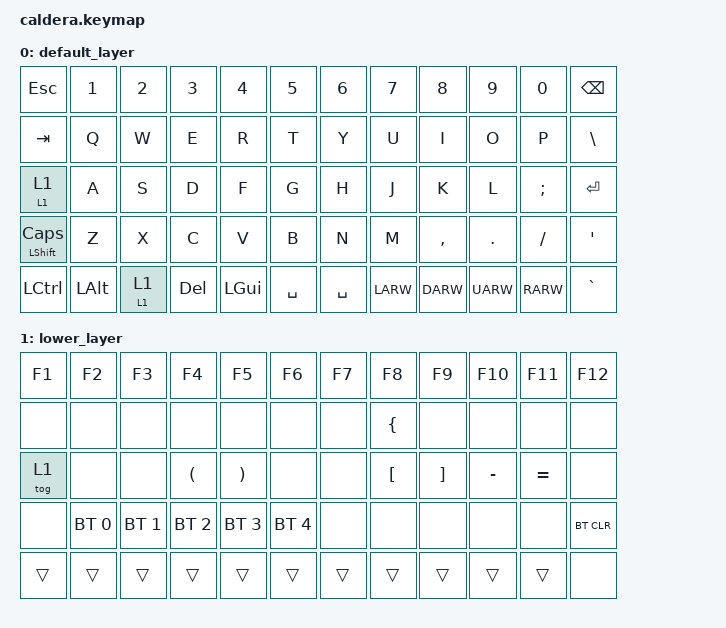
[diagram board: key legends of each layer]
// Here is where we define the DEFAULT keymap for the keyboard. Users can override this if they want to.

#include <behaviors.dtsi>
#include <dt-bindings/zmk/keys.h>
#include <dt-bindings/zmk/bt.h>

/ {
    behaviors {
		// When tapped it toggles the layer, when held for longer than 200ms it deactivates on release
        mo_tog: mo_tog {
            compatible = "zmk,behavior-hold-tap";
            #binding-cells = <2>;
            flavor = "hold-preferred";
            tapping-term-ms = <200>;
            bindings = <&mo>, <&tog>;
        };
    };

    keymap {
        compatible = "zmk,keymap";

        default_layer {  // Layer 0
			bindings = <

	&kp ESC        &kp N1       &kp N2       &kp N3       &kp N4       &kp N5            &kp N6        &kp N7       &kp N8       &kp N9       &kp N0       &kp BSPC
	&kp TAB        &kp Q        &kp W        &kp E        &kp R        &kp T             &kp Y         &kp U        &kp I        &kp O        &kp P        &kp BSLH
	&mo_tog 1 1    &kp A        &kp S        &kp D        &kp F        &kp G             &kp H         &kp J        &kp K        &kp L        &kp SEMI     &kp RET
	&mt LSHFT CAPS &kp Z        &kp X        &kp C        &kp V        &kp B             &kp N         &kp M        &kp COMMA    &kp DOT      &kp FSLH     &kp APOS
	&kp LCTRL      &kp LALT     &mo_tog 1 1  &kp DEL      &kp LGUI     &kp SPACE         &kp SPACE     &kp LARW     &kp DARW     &kp UARW     &kp RARW     &kp GRAVE      

			>;
		};
        lower_layer {
			bindings = <

	&kp F1         &kp F2       &kp F3       &kp F4       &kp F5       &kp F6            &kp F7        &kp F8       &kp F9       &kp F10      &kp F11      &kp F12
	&none          &none        &none        &none        &none        &none             &none         &kp LBRC     &none		 &none		  &none        &none
	&tog 1         &none        &none        &kp LPAR     &kp RPAR     &none             &none         &kp LBKT     &kp RBKT     &kp MINUS    &kp EQUAL    &none 
	&none          &bt BT_SEL 0 &bt BT_SEL 1 &bt BT_SEL 2 &bt BT_SEL 3 &bt BT_SEL 4      &none         &none        &none        &none        &none        &bt BT_CLR
	&trans         &trans       &trans       &trans       &trans       &trans            &trans        &trans       &trans       &trans       &trans       &none

			>;
        };
    };
};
